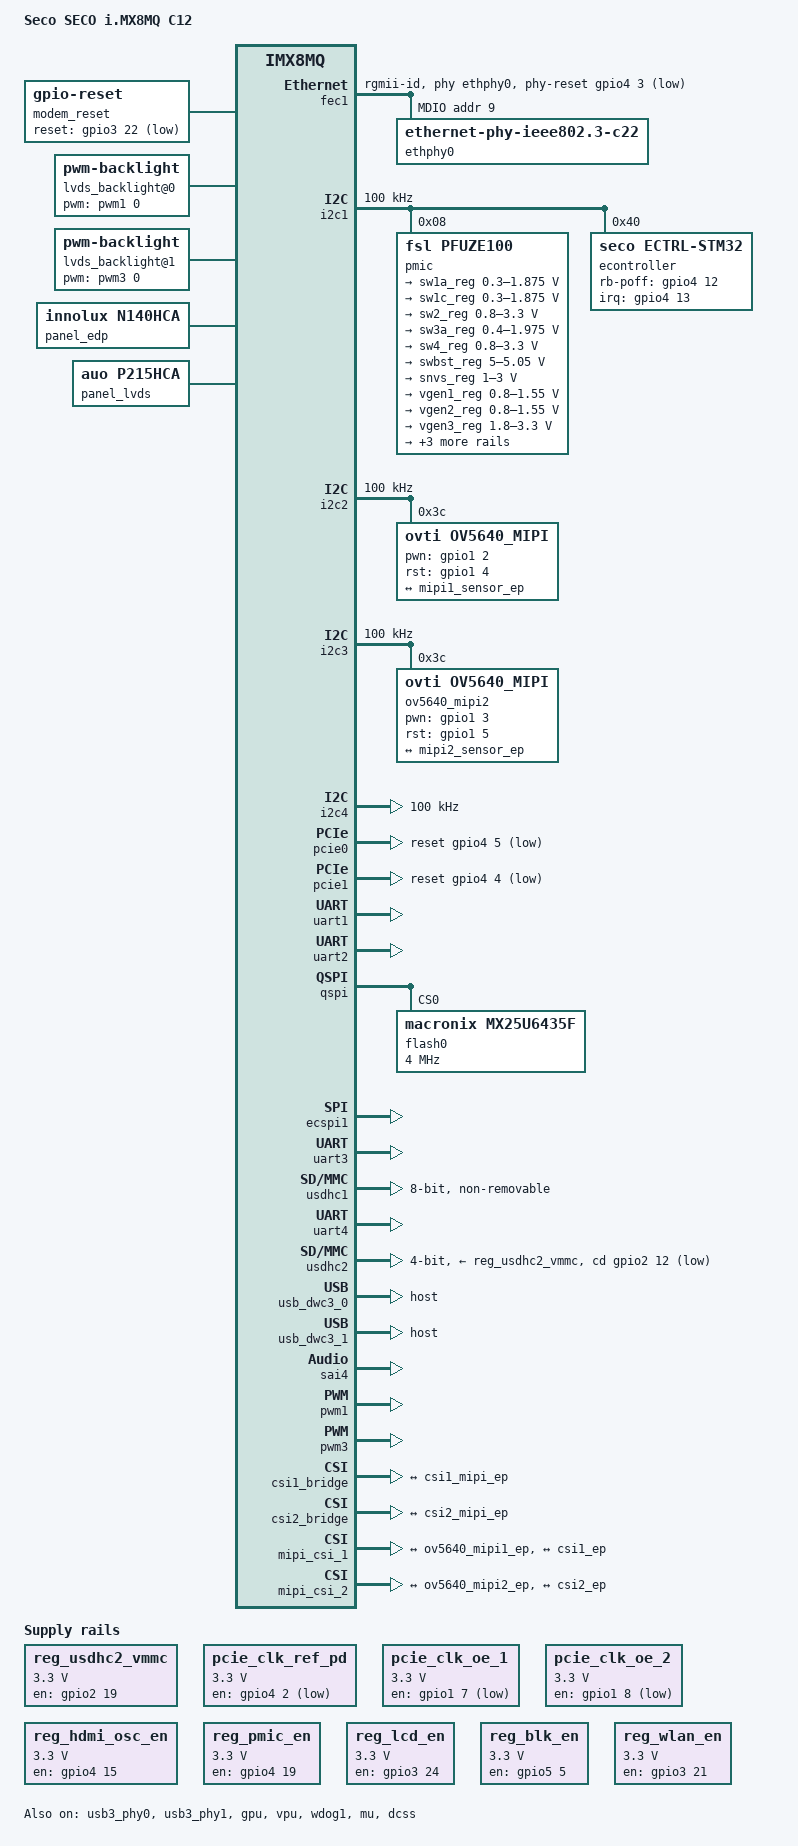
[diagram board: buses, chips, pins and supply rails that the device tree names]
/*
 * Copyright (C) 2016 Freescale Semiconductor, Inc.
 * Copyright 2017 NXP
 *
 * This program is free software; you can redistribute it and/or
 * modify it under the terms of the GNU General Public License
 * as published by the Free Software Foundation; either version 2
 * of the License, or (at your option) any later version.
 *
 * This program is distributed in the hope that it will be useful,
 * but WITHOUT ANY WARRANTY; without even the implied warranty of
 * MERCHANTABILITY or FITNESS FOR A PARTICULAR PURPOSE.  See the
 * GNU General Public License for more details.
 */

/dts-v1/;

#include <dt-bindings/usb/pd.h>
#include "seco-imx8mq.dtsi"
#include "dt-bindings/net/ti-dp83867.h"
#include "dt-bindings/seco/ectrl_stm32.h"

/ {
	model = "Seco SECO i.MX8MQ C12";
	compatible = "fsl,imx8mq-evk","fsl,seco-imx8mq-c12", "fsl,imx8mq";

	chosen {
		bootargs = "console=ttymxc1,115200 earlycon=ec_imx6q,0x30890000,115200";
		stdout-path = &uart2;
	};

	regulators {
		compatible = "simple-bus";
		#address-cells = <1>;
		#size-cells = <0>;

		reg_usdhc2_vmmc: usdhc2_vmmc {
			compatible = "regulator-fixed";
			regulator-name = "VSD_3V3";
			regulator-min-microvolt = <3300000>;
			regulator-max-microvolt = <3300000>;
			gpio = <&gpio2 19 GPIO_ACTIVE_HIGH>;
			off-on-delay = <20000>;
			enable-active-high;
		};

		pcie_clk_ref_pd: pcie_clk_ref_vdd {
			compatible = "regulator-fixed";
			regulator-name = "PCIE_CLK_REF_PD";
			regulator-min-microvolt = <3300000>;
			regulator-max-microvolt = <3300000>;
			gpio = <&gpio4 2 GPIO_ACTIVE_LOW>;
			enable-active-low;
			regulator-boot-on;
			regulator-always-on;
		};

		pcie_clk_oe_1: pcie_clk_oe1 {
			compatible = "regulator-fixed";
			regulator-name = "PCIE_CLK_OE_1";
			regulator-min-microvolt = <3300000>;
			regulator-max-microvolt = <3300000>;
			gpio = <&gpio1 7 GPIO_ACTIVE_LOW>;
			enable-active-low;
			regulator-always-on;
		};

		pcie_clk_oe_2: pcie_clk_oe2 {
			compatible = "regulator-fixed";
			regulator-name = "PCIE_CLK_OE_2";
			regulator-min-microvolt = <3300000>;
			regulator-max-microvolt = <3300000>;
			gpio = <&gpio1 8 GPIO_ACTIVE_LOW>;
			enable-active-low;
			regulator-always-on;
		};

		reg_hdmi_osc_en: reg_hdmi_oscen {
                        compatible = "regulator-fixed";
                        regulator-name = "HDMI_27MHZ_EN";
                        regulator-min-microvolt = <3300000>;
                        regulator-max-microvolt = <3300000>;
                        gpio = <&gpio4 15 GPIO_ACTIVE_HIGH>;
                        enable-active-high;
                };

		reg_pmic_en: reg_pmicen {
                        compatible = "regulator-fixed";
                        regulator-name = "PMIC_EN";
                        regulator-min-microvolt = <3300000>;
                        regulator-max-microvolt = <3300000>;
                        gpio = <&gpio4 19 GPIO_ACTIVE_HIGH>;
                        enable-active-high;
                        regulator-boot-on;
                        regulator-always-on;
                };

		reg_lcd_en: reg_lcd_vdd_en {
                        compatible = "regulator-fixed";
                        regulator-name = "LCD_VDD_EN";
                        regulator-min-microvolt = <3300000>;
                        regulator-max-microvolt = <3300000>;
                        gpio = <&gpio3 24 GPIO_ACTIVE_HIGH>;
                        enable-active-high;
                        regulator-boot-on;
                        regulator-always-on;
                };

		reg_blk_en: reg_blk_vdd_en {
                        compatible = "regulator-fixed";
                        regulator-name = "BLK_VDD_EN";
                        regulator-min-microvolt = <3300000>;
                        regulator-max-microvolt = <3300000>;
                        gpio = <&gpio5 5 GPIO_ACTIVE_HIGH>;
                        enable-active-high;
                        regulator-boot-on;
                        regulator-always-on;
                };

		reg_wlan_en: wlan_en {
                        compatible = "regulator-fixed";
                        regulator-name = "WLAN_EN";
                        regulator-min-microvolt = <3300000>;
                        regulator-max-microvolt = <3300000>;
                        gpio = <&gpio3 21 GPIO_ACTIVE_HIGH>;
                        enable-active-high;
                };
	};

	modem_reset: modem-reset {
		compatible = "gpio-reset";
		reset-gpios = <&gpio3 22 GPIO_ACTIVE_LOW>;
		reset-delay-us = <2000>;
		reset-post-delay-ms = <40>;
		#reset-cells = <0>;
	};

	soundhdmi: sound-hdmi {
		compatible = "fsl,seco-imx8mq-c12-cdnhdmi",
				"fsl,imx-audio-cdnhdmi";
		model = "imx-audio-hdmi";
		audio-cpu = <&sai4>;
		protocol = <1>;
		hdmi-out;
		constraint-rate = <44100>,
				<88200>,
				<176400>,
				<32000>,
				<48000>,
				<96000>,
				<192000>;
	};

	lvds_backlight@0 {
                compatible = "pwm-backlight";
                pwms = <&pwm1 0 100000>;

                brightness-levels = < 0  1  2  3  4  5  6  7  8  9
                                     10 11 12 13 14 15 16 17 18 19
                                     20 21 22 23 24 25 26 27 28 29
                                     30 31 32 33 34 35 36 37 38 39
                                     40 41 42 43 44 45 46 47 48 49
                                     50 51 52 53 54 55 56 57 58 59
                                     60 61 62 63 64 65 66 67 68 69
                                     70 71 72 73 74 75 76 77 78 79
                                     80 81 82 83 84 85 86 87 88 89
                                     90 91 92 93 94 95 96 97 98 99
                                    100>;
                default-brightness-level = <80>;
        };

        lvds_backlight@1 {
                compatible = "pwm-backlight";
                pwms = <&pwm3 0 100000>;

                brightness-levels = < 0  1  2  3  4  5  6  7  8  9
                                     10 11 12 13 14 15 16 17 18 19
                                     20 21 22 23 24 25 26 27 28 29
                                     30 31 32 33 34 35 36 37 38 39
                                     40 41 42 43 44 45 46 47 48 49
                                     50 51 52 53 54 55 56 57 58 59
                                     60 61 62 63 64 65 66 67 68 69
                                     70 71 72 73 74 75 76 77 78 79
                                     80 81 82 83 84 85 86 87 88 89
                                     90 91 92 93 94 95 96 97 98 99
                                    100>;
                default-brightness-level = <80>;
       };

	panel_edp: edp_panel {
		compatible = "innolux,n140hca";
		#address-cells = <1>;
		#size-cells = <0>;
	};

	panel_lvds: lvds_panel {
		compatible = "auo,p215hca";
		#address-cells = <1>;
		#size-cells = <0>;
	};

};

&clk {
	assigned-clocks = <&clk IMX8MQ_AUDIO_PLL1>, <&clk IMX8MQ_AUDIO_PLL2>;
	assigned-clock-rates = <786432000>, <722534400>;
};

&iomuxc {
	pinctrl-names = "default";
	pinctrl-0 = <&pinctrl_hog>;

	seco-imx8mq-c12 {
		pinctrl_hog: hoggrp {
			fsl,pins = <
				MX8MQ_IOMUXC_NAND_READY_B_GPIO3_IO16		0x19 /* CFG_0 */
				MX8MQ_IOMUXC_NAND_WE_B_GPIO3_IO17		0x19 /* CFG_2 */
				MX8MQ_IOMUXC_NAND_WP_B_GPIO3_IO18		0x19 /* CFG_1 */
				/* LVDS regulatore*/				
				MX8MQ_IOMUXC_SAI5_RXFS_GPIO3_IO19		0x19
				MX8MQ_IOMUXC_SAI5_RXD3_GPIO3_IO24		0x19
				MX8MQ_IOMUXC_SPDIF_EXT_CLK_GPIO5_IO5	        0x19
				MX8MQ_IOMUXC_SAI3_MCLK_GPIO5_IO2		0x19 /* LCD1_VDD_EN */
				/* BT_CFG9 STM32 interrupt */
				MX8MQ_IOMUXC_SAI1_TXD1_GPIO4_IO13		0x82
				MX8MQ_IOMUXC_SAI1_TXD0_GPIO4_IO12		0x82
				MX8MQ_IOMUXC_SAI1_RXD4_GPIO4_IO6		0x82
				MX8MQ_IOMUXC_GPIO1_IO08_GPIO1_IO8       	0x82 /* PMIC_FAULT_INT# in RevB board - PCIe_CLK_OE_3#_8M in RevC */	
				/* HDMI 27MHz Enable */
				MX8MQ_IOMUXC_SAI1_TXD3_GPIO4_IO15		0x19
				/* PMIC Boost Enable */
				MX8MQ_IOMUXC_SAI1_TXD7_GPIO4_IO19		0x19
				MX8MQ_IOMUXC_GPIO1_IO07_GPIO1_IO7		0x19 /* PMIC_SDWN in RevB board - PCIe_CLK_OE_1#_8M in RevC */
				
				/* Generic GPIO */
				MX8MQ_IOMUXC_GPIO1_IO06_GPIO1_IO6               0x19 /* GPIO4 */
				MX8MQ_IOMUXC_GPIO1_IO13_GPIO1_IO13               0x19 /* GPIO5 */
				MX8MQ_IOMUXC_GPIO1_IO10_GPIO1_IO10               0x19 /* GPIO6 */
				MX8MQ_IOMUXC_GPIO1_IO11_GPIO1_IO11               0x19 /* GPIO7 */
				MX8MQ_IOMUXC_GPIO1_IO12_GPIO1_IO12               0x19 /* GPIO8 */
				MX8MQ_IOMUXC_NAND_DATA04_GPIO3_IO10		0x19 /* GPIO9 */
				MX8MQ_IOMUXC_NAND_DATA05_GPIO3_IO11             0x19 /* GPIO10 */
				MX8MQ_IOMUXC_NAND_DATA06_GPIO3_IO12             0x19 /* GPIO11 */
				MX8MQ_IOMUXC_NAND_DATA07_GPIO3_IO13		0x19 /* VIN_PWR_BAD_1V8 */
				MX8MQ_IOMUXC_SAI5_MCLK_GPIO3_IO25		0x19 /* not connected */
				MX8MQ_IOMUXC_SAI5_RXC_GPIO3_IO20		0x19 /* LVDS_BRG_IRQ */ 
				MX8MQ_IOMUXC_SPDIF_RX_GPIO5_IO4			0x19 /* LCD1_BKLT_EN */	
				/* USB OC# */
				MX8MQ_IOMUXC_SAI1_MCLK_GPIO4_IO20		0x19 /* USB1_EN_OC# */	
				MX8MQ_IOMUXC_SAI1_TXFS_GPIO4_IO10		0x19 /* USB2_EN_OC# */
				MX8MQ_IOMUXC_SAI1_TXC_GPIO4_IO11		0x19 /* USB3_EN_OC# */
				MX8MQ_IOMUXC_SAI1_RXFS_GPIO4_IO0		0x19 /* USB4_EN_OC# */
				MX8MQ_IOMUXC_SAI1_RXC_GPIO4_IO1			0x19 /* USB0_EN_OC# */
				/*CAMERA CLOCK OUT */
				MX8MQ_IOMUXC_GPIO1_IO14_CCMSRCGPCMIX_CLKO1	0x19	
				MX8MQ_IOMUXC_GPIO1_IO15_CCMSRCGPCMIX_CLKO2	0x19
			>;
		};

		pinctrl_csi1: csi1_grp {
			fsl,pins = <
				MX8MQ_IOMUXC_GPIO1_IO02_GPIO1_IO2		0x19 /* pwn */
				MX8MQ_IOMUXC_GPIO1_IO04_GPIO1_IO4               0x19 /* rst */
			>;
		};
		pinctrl_csi2: csi2_grp {
			fsl,pins = <
				MX8MQ_IOMUXC_GPIO1_IO03_GPIO1_IO3		0x19 /* pwn */
				MX8MQ_IOMUXC_GPIO1_IO05_GPIO1_IO5               0x19 /* rst */
			>;
		};

		pinctrl_fec1: fec1grp {
			fsl,pins = <
				MX8MQ_IOMUXC_ENET_MDC_ENET1_MDC		0x3
				MX8MQ_IOMUXC_ENET_MDIO_ENET1_MDIO	0x23
				MX8MQ_IOMUXC_ENET_TD3_ENET1_RGMII_TD3	0x1f
				MX8MQ_IOMUXC_ENET_TD2_ENET1_RGMII_TD2	0x1f
				MX8MQ_IOMUXC_ENET_TD1_ENET1_RGMII_TD1	0x1f
				MX8MQ_IOMUXC_ENET_TD0_ENET1_RGMII_TD0	0x1f
				MX8MQ_IOMUXC_ENET_RD3_ENET1_RGMII_RD3	0x91
				MX8MQ_IOMUXC_ENET_RD2_ENET1_RGMII_RD2	0x91
				MX8MQ_IOMUXC_ENET_RD1_ENET1_RGMII_RD1	0x91
				MX8MQ_IOMUXC_ENET_RD0_ENET1_RGMII_RD0	0x91
				MX8MQ_IOMUXC_ENET_TXC_ENET1_RGMII_TXC	0x1f
				MX8MQ_IOMUXC_ENET_RXC_ENET1_RGMII_RXC	0x91
				MX8MQ_IOMUXC_ENET_RX_CTL_ENET1_RGMII_RX_CTL	0x91
				MX8MQ_IOMUXC_ENET_TX_CTL_ENET1_RGMII_TX_CTL	0x1f
				/* ENET RESET */
				MX8MQ_IOMUXC_SAI1_RXD1_GPIO4_IO3        0x19
			>;
		};

		pinctrl_i2c1: i2c1grp {
			fsl,pins = <
				MX8MQ_IOMUXC_I2C1_SCL_I2C1_SCL			0x4000007f
				MX8MQ_IOMUXC_I2C1_SDA_I2C1_SDA			0x4000007f
			>;
		};

		pinctrl_i2c2: i2c2grp {
			fsl,pins = <
				MX8MQ_IOMUXC_I2C2_SCL_I2C2_SCL			0x40000067
				MX8MQ_IOMUXC_I2C2_SDA_I2C2_SDA			0x40000067
			>;
		};

		pinctrl_i2c3: i2c3grp {
			fsl,pins = <
				MX8MQ_IOMUXC_I2C3_SCL_I2C3_SCL			0x40000067
				MX8MQ_IOMUXC_I2C3_SDA_I2C3_SDA			0x40000067
			>;
		};

		pinctrl_i2c4: i2c4grp {
                       fsl,pins = <
                                MX8MQ_IOMUXC_I2C4_SCL_I2C4_SCL                  0x4000007f
                                MX8MQ_IOMUXC_I2C4_SDA_I2C4_SDA                  0x4000007f
                        >;
                };

		pinctrl_pcie0: pcie0grp {
			fsl,pins = <
				MX8MQ_IOMUXC_SAI1_RXD3_GPIO4_IO5	0x16
			>;
		};

		pinctrl_pcie1: pcie1grp {
			fsl,pins = <
				MX8MQ_IOMUXC_SAI1_RXD2_GPIO4_IO4	0x16
			>;
		};

		pinctrl_spi: spigrp {
                        fsl,pins = <
                                MX8MQ_IOMUXC_ECSPI1_SCLK_ECSPI1_SCLK	0x82
                                MX8MQ_IOMUXC_ECSPI1_MOSI_ECSPI1_MOSI	0x82
                                MX8MQ_IOMUXC_ECSPI1_MISO_ECSPI1_MISO	0x82
				MX8MQ_IOMUXC_ECSPI1_SS0_GPIO5_IO9	0x19 /* MCP2517 */
				MX8MQ_IOMUXC_SAI1_RXD7_GPIO4_IO9	0x82 /* PCF2123 */
				MX8MQ_IOMUXC_NAND_CE2_B_GPIO3_IO3	0x82 /* ESPI_RESET# */
				MX8MQ_IOMUXC_NAND_CE3_B_GPIO3_IO4	0x82 /* ESPI_ALERT# */
				MX8MQ_IOMUXC_NAND_CLE_GPIO3_IO5		0x82 /* RTC_INT_CPU */

                        >;
                };

		pinctrl_can_int: mcp2515int {
			fsl,pins = <
				MX8MQ_IOMUXC_GPIO1_IO09_GPIO1_IO9	0x82 /* INT */

                        >;
		};

		pinctrl_typec: typecgrp {
			fsl,pins = <
				MX8MQ_IOMUXC_NAND_RE_B_GPIO3_IO15	0x16
			>;
		};

		pinctrl_qspi: qspigrp {
			fsl,pins = <
				MX8MQ_IOMUXC_NAND_ALE_QSPI_A_SCLK	0x83
				MX8MQ_IOMUXC_NAND_CE0_B_QSPI_A_SS0_B	0x83
				MX8MQ_IOMUXC_NAND_CE1_B_QSPI_A_SS1_B	0x83
				MX8MQ_IOMUXC_NAND_DATA00_QSPI_A_DATA0	0x83
				MX8MQ_IOMUXC_NAND_DATA01_QSPI_A_DATA1	0x83
				MX8MQ_IOMUXC_NAND_DATA02_QSPI_A_DATA2   0x83
				MX8MQ_IOMUXC_NAND_DATA03_QSPI_A_DATA3   0x83

			>;
		};

		pinctrl_uart1: uart1grp {
			fsl,pins = <
				MX8MQ_IOMUXC_UART1_RXD_UART1_DCE_RX		0x49
				MX8MQ_IOMUXC_UART1_TXD_UART1_DCE_TX		0x49
			>;
		};

		pinctrl_uart2: uart2grp {
                        fsl,pins = <
                                MX8MQ_IOMUXC_UART2_TXD_UART2_DCE_TX             0x49
                                MX8MQ_IOMUXC_UART2_RXD_UART2_DCE_RX             0x49
                        >;
                };

		pinctrl_uart3: uart3grp {
			fsl,pins = <
				MX8MQ_IOMUXC_UART3_TXD_UART3_DCE_TX		0x49
				MX8MQ_IOMUXC_UART3_RXD_UART3_DCE_RX		0x49
			>;
		};

		pinctrl_uart4: uart4grp {
                        fsl,pins = <
				MX8MQ_IOMUXC_ECSPI2_MOSI_UART4_DCE_TX           0x16
				MX8MQ_IOMUXC_ECSPI2_SCLK_UART4_DCE_RX           0x16
				MX8MQ_IOMUXC_ECSPI2_SS0_UART4_DCE_RTS_B         0x16
				MX8MQ_IOMUXC_ECSPI2_MISO_UART4_DCE_CTS_B        0x16
				MX8MQ_IOMUXC_SAI5_RXD1_GPIO3_IO22               0x16
			>;
                };

		pinctrl_usdhc1: usdhc1grp {
			fsl,pins = <
				MX8MQ_IOMUXC_SD1_CLK_USDHC1_CLK			0x83
				MX8MQ_IOMUXC_SD1_CMD_USDHC1_CMD			0xc3
				MX8MQ_IOMUXC_SD1_DATA0_USDHC1_DATA0		0xc3
				MX8MQ_IOMUXC_SD1_DATA1_USDHC1_DATA1		0xc3
				MX8MQ_IOMUXC_SD1_DATA2_USDHC1_DATA2		0xc3
				MX8MQ_IOMUXC_SD1_DATA3_USDHC1_DATA3		0xc3
				MX8MQ_IOMUXC_SD1_DATA4_USDHC1_DATA4		0xc3
				MX8MQ_IOMUXC_SD1_DATA5_USDHC1_DATA5		0xc3
				MX8MQ_IOMUXC_SD1_DATA6_USDHC1_DATA6		0xc3
				MX8MQ_IOMUXC_SD1_DATA7_USDHC1_DATA7		0xc3
				MX8MQ_IOMUXC_SD1_STROBE_USDHC1_STROBE 		0x83
				MX8MQ_IOMUXC_SD1_RESET_B_USDHC1_RESET_B		0xc1
			>;
		};

		pinctrl_usdhc1_100mhz: usdhc1grp100mhz {
			fsl,pins = <
				MX8MQ_IOMUXC_SD1_CLK_USDHC1_CLK			0x85
				MX8MQ_IOMUXC_SD1_CMD_USDHC1_CMD			0xc5
				MX8MQ_IOMUXC_SD1_DATA0_USDHC1_DATA0		0xc5
				MX8MQ_IOMUXC_SD1_DATA1_USDHC1_DATA1		0xc5
				MX8MQ_IOMUXC_SD1_DATA2_USDHC1_DATA2		0xc5
				MX8MQ_IOMUXC_SD1_DATA3_USDHC1_DATA3		0xc5
				MX8MQ_IOMUXC_SD1_DATA4_USDHC1_DATA4		0xc5
				MX8MQ_IOMUXC_SD1_DATA5_USDHC1_DATA5		0xc5
				MX8MQ_IOMUXC_SD1_DATA6_USDHC1_DATA6		0xc5
				MX8MQ_IOMUXC_SD1_DATA7_USDHC1_DATA7		0xc5
				MX8MQ_IOMUXC_SD1_STROBE_USDHC1_STROBE		0x85
				MX8MQ_IOMUXC_SD1_RESET_B_USDHC1_RESET_B		0xc1
			>;
		};

		pinctrl_usdhc1_200mhz: usdhc1grp200mhz {
			fsl,pins = <
				MX8MQ_IOMUXC_SD1_CLK_USDHC1_CLK			0x87
				MX8MQ_IOMUXC_SD1_CMD_USDHC1_CMD			0xc7
				MX8MQ_IOMUXC_SD1_DATA0_USDHC1_DATA0		0xc7
				MX8MQ_IOMUXC_SD1_DATA1_USDHC1_DATA1		0xc7
				MX8MQ_IOMUXC_SD1_DATA2_USDHC1_DATA2		0xc7
				MX8MQ_IOMUXC_SD1_DATA3_USDHC1_DATA3		0xc7
				MX8MQ_IOMUXC_SD1_DATA4_USDHC1_DATA4		0xc7
				MX8MQ_IOMUXC_SD1_DATA5_USDHC1_DATA5		0xc7
				MX8MQ_IOMUXC_SD1_DATA6_USDHC1_DATA6		0xc7
				MX8MQ_IOMUXC_SD1_DATA7_USDHC1_DATA7		0xc7
				MX8MQ_IOMUXC_SD1_STROBE_USDHC1_STROBE		0x87
				MX8MQ_IOMUXC_SD1_RESET_B_USDHC1_RESET_B		0xc1
			>;
		};

		pinctrl_usdhc2_gpio: usdhc2grpgpio {
			fsl,pins = <
				MX8MQ_IOMUXC_SD2_CD_B_GPIO2_IO12	0x41
				MX8MQ_IOMUXC_SD2_RESET_B_GPIO2_IO19	0x82
			>;
		};

		pinctrl_usdhc2: usdhc2grp {
			fsl,pins = <
				MX8MQ_IOMUXC_SD2_CLK_USDHC2_CLK			0xc6
				MX8MQ_IOMUXC_SD2_CMD_USDHC2_CMD			0xc5
				MX8MQ_IOMUXC_SD2_DATA0_USDHC2_DATA0		0xc5
				MX8MQ_IOMUXC_SD2_DATA1_USDHC2_DATA1		0xc5
				MX8MQ_IOMUXC_SD2_DATA2_USDHC2_DATA2		0xc5
				MX8MQ_IOMUXC_SD2_DATA3_USDHC2_DATA3		0xc5
			>;
		};

		pinctrl_usdhc2_100mhz: usdhc2grp100mhz {
			fsl,pins = <
				MX8MQ_IOMUXC_SD2_CLK_USDHC2_CLK			0x85
				MX8MQ_IOMUXC_SD2_CMD_USDHC2_CMD			0xc5
				MX8MQ_IOMUXC_SD2_DATA0_USDHC2_DATA0		0xc5
				MX8MQ_IOMUXC_SD2_DATA1_USDHC2_DATA1		0xc5
				MX8MQ_IOMUXC_SD2_DATA2_USDHC2_DATA2		0xc5
				MX8MQ_IOMUXC_SD2_DATA3_USDHC2_DATA3		0xc5
			>;
		};

		pinctrl_usdhc2_200mhz: usdhc2grp200mhz {
			fsl,pins = <
				MX8MQ_IOMUXC_SD2_CLK_USDHC2_CLK			0x87
				MX8MQ_IOMUXC_SD2_CMD_USDHC2_CMD			0xc7
				MX8MQ_IOMUXC_SD2_DATA0_USDHC2_DATA0		0xc7
				MX8MQ_IOMUXC_SD2_DATA1_USDHC2_DATA1		0xc7
				MX8MQ_IOMUXC_SD2_DATA2_USDHC2_DATA2		0xc7
				MX8MQ_IOMUXC_SD2_DATA3_USDHC2_DATA3		0xc7
			>;
		};

		pinctrl_wlan: wlangrp {
                        fsl,pins = <
                                MX8MQ_IOMUXC_SAI5_RXD2_GPIO3_IO23                       0x82    /* WL IRQ    */
                                MX8MQ_IOMUXC_SAI5_RXD0_GPIO3_IO21                       0x82    /* WL Enable */
                        >;
                };

		pinctrl_lvds0_pwm1: lvds0pwm1grp {
				fsl,pins = <
					MX8MQ_IOMUXC_GPIO1_IO01_PWM1_OUT	0x000000d6
				>;
		};

		pinctrl_lvds1_pwm3: lvds1pwm3grp {
				fsl,pins = <
					MX8MQ_IOMUXC_SPDIF_TX_PWM3_OUT		0x000000d6
				>;
		};
	};
};

&fec1 {
	pinctrl-names = "default";
	pinctrl-0 = <&pinctrl_fec1>;
	phy-mode = "rgmii-id";
	phy-handle = <&ethphy0>;
	phy-reset-gpios = <&gpio4 3 GPIO_ACTIVE_LOW>;
	phy-reset-duration = <1>;
	status = "okay";

	mdio {
		#address-cells = <1>;
		#size-cells = <0>;

		ethphy0: ethernet-phy@9 {
			compatible = "ethernet-phy-ieee802.3-c22";
			reg = <9>;
			ti,rx-internal-delay = <DP83867_RGMIIDCTL_2_00_NS>;
			ti,tx-internal-delay = <DP83867_RGMIIDCTL_2_00_NS>;
			ti,fifo-depth = <DP83867_PHYCR_FIFO_DEPTH_8_B_NIB>;
		
		};
	};
};

&i2c1 {
	clock-frequency = <100000>;
	pinctrl-names = "default";
	pinctrl-0 = <&pinctrl_i2c1>;
	status = "okay";

	pmic: pfuze100@8 {
		compatible = "fsl,pfuze100";
		reg = <0x08>;

		regulators {
			sw1a_reg: sw1ab {
				regulator-min-microvolt = <300000>;
				regulator-max-microvolt = <1875000>;
			};

			sw1c_reg: sw1c {
				regulator-min-microvolt = <300000>;
				regulator-max-microvolt = <1875000>;
			};

			sw2_reg: sw2 {
				regulator-min-microvolt = <800000>;
				regulator-max-microvolt = <3300000>;
				regulator-always-on;
			};

			sw3a_reg: sw3ab {
				regulator-min-microvolt = <400000>;
				regulator-max-microvolt = <1975000>;
				regulator-always-on;
			};

			sw4_reg: sw4 {
				regulator-min-microvolt = <800000>;
				regulator-max-microvolt = <3300000>;
				regulator-always-on;
			};

			swbst_reg: swbst {
				regulator-min-microvolt = <5000000>;
				regulator-max-microvolt = <5050000>;
				regulator-always-on;
			};

			snvs_reg: vsnvs {
				regulator-min-microvolt = <1000000>;
				regulator-max-microvolt = <3000000>;
				regulator-always-on;
			};

			vref_reg: vrefddr {
				regulator-always-on;
			};

			vgen1_reg: vgen1 {
				regulator-min-microvolt = <800000>;
				regulator-max-microvolt = <1550000>;
			};

			vgen2_reg: vgen2 {
				regulator-min-microvolt = <800000>;
				regulator-max-microvolt = <1550000>;
				regulator-always-on;
			};

			vgen3_reg: vgen3 {
				regulator-min-microvolt = <1800000>;
				regulator-max-microvolt = <3300000>;
				regulator-always-on;
			};

			vgen4_reg: vgen4 {
				regulator-min-microvolt = <1800000>;
				regulator-max-microvolt = <3300000>;
				regulator-always-on;
			};

			vgen5_reg: vgen5 {
				regulator-min-microvolt = <1800000>;
				regulator-max-microvolt = <3300000>;
				regulator-always-on;
			};

			vgen6_reg: vgen6 {
				regulator-min-microvolt = <1800000>;
				regulator-max-microvolt = <3300000>;
			};
		};
	};

	econtroller: ectrl@40 {
                compatible       = "seco,ectrl-stm32";
                reg              = <0x40>;
	
		board-id         = "C12";

                interrupt-parent = <&gpio4>;
                interrupts       = <13 0>;

		rb-poff-gpio	 = <&gpio4 12 0>;	

		events           = <ECTRL_EVNT_FAIL_BV 
                                        ECTRL_EVNT_FAIL_WD  
                                        ECTRL_EVNT_BATLOW_SIGNAL 
                                        ECTRL_EVNT_SLEEP_SIGNAL 
                                        ECTRL_EVNT_LID_SIGNAL 
                                        ECTRL_EVNT_PWR_BUTTON 
                                        ECTRL_EVNT_FAIL_PWGIN 
                                        ECTRL_EVNT_WAKE_EN>;
                boot_device {

                        bootdev@0 {
                                id    = <ECTRL_BOOTDEV_USDHC1>;
                                label = "external SD";
                        };

                        bootdev@1 {
                                id    = <ECTRL_BOOTDEV_EMMC>;
                                label = "on board eMMC";
                        };
                      
                };

        };



};

&i2c2 {
	clock-frequency = <100000>;
	pinctrl-names = "default";
	pinctrl-0 = <&pinctrl_i2c2>;
	status = "okay";	

	ov5640_mipi: ov5640_mipi@3c {
		compatible = "ovti,ov5640_mipi";
		reg = <0x3c>;
		status = "okay";
		pinctrl-names = "default";
		pinctrl-0 = <&pinctrl_csi1>;
		clocks = <&clk IMX8MQ_CLK_CLKO2>;
		clock-names = "csi_mclk";
		assigned-clocks = <&clk IMX8MQ_CLK_CLKO2>;
		assigned-clock-parents = <&clk IMX8MQ_SYS2_PLL_200M>;
		assigned-clock-rates = <20000000>;
		csi_id = <0>;
		pwn-gpios = <&gpio1 2 GPIO_ACTIVE_HIGH>;
		rst-gpios = <&gpio1 4 GPIO_ACTIVE_HIGH>;
		mclk = <20000000>;
		mclk_source = <0>;
		port {
			ov5640_mipi1_ep: endpoint {
				remote-endpoint = <&mipi1_sensor_ep>;
			};
		};
	};
};

&i2c3 {
	clock-frequency = <100000>;
	pinctrl-names = "default";
	pinctrl-0 = <&pinctrl_i2c3>;
	status = "okay";
	adv_bridge: sn65dsi84@2d {
                compatible = "ti,sn65dsi84";
                reg = <0x2d>;
                #address-cells = <1>;
                #size-cells = <0>;
		pd-gpios = <&gpio3 19 GPIO_ACTIVE_HIGH>;
		status = "disabled";
	};

	ov5640_mipi2: ov5640_mipi2@3c {
		compatible = "ovti,ov5640_mipi";
		reg = <0x3c>;
		status = "okay";
		pinctrl-names = "default";
		pinctrl-0 = <&pinctrl_csi2>;
		clocks = <&clk IMX8MQ_CLK_CLKO2>;
		clock-names = "csi_mclk";
		assigned-clocks = <&clk IMX8MQ_CLK_CLKO2>;
		assigned-clock-parents = <&clk IMX8MQ_SYS2_PLL_200M>;
		assigned-clock-rates = <20000000>;
		csi_id = <1>;
		pwn-gpios = <&gpio1 3 GPIO_ACTIVE_HIGH>;
		rst-gpios = <&gpio1 5 GPIO_ACTIVE_HIGH>;
		mclk = <20000000>;
		mclk_source = <0>;
		port {
			ov5640_mipi2_ep: endpoint {
				remote-endpoint = <&mipi2_sensor_ep>;
			};
		};
	};
};

&i2c4 {
        clock-frequency = <100000>;
        pinctrl-names = "default";
        pinctrl-0 = <&pinctrl_i2c4>;
        status = "okay";
};

&pcie0{
	pinctrl-names = "default";
	pinctrl-0 = <&pinctrl_pcie0>;
	reset-gpio = <&gpio4 5 GPIO_ACTIVE_LOW>;
	ext_osc = <1>;
	status = "okay";
};

&pcie1{
	pinctrl-names = "default";
	pinctrl-0 = <&pinctrl_pcie1>;
	reset-gpio = <&gpio4 4 GPIO_ACTIVE_LOW>;
	ext_osc = <1>;
	status = "okay";
};

&uart1 { 
	pinctrl-names = "default";
	pinctrl-0 = <&pinctrl_uart1>;
	assigned-clocks = <&clk IMX8MQ_CLK_UART1>;
	assigned-clock-parents = <&clk IMX8MQ_CLK_25M>;
	status = "okay";
};

&uart2 { /* console */
        pinctrl-names = "default";
        pinctrl-0 = <&pinctrl_uart2>;
        assigned-clocks = <&clk IMX8MQ_CLK_UART2>;
        assigned-clock-parents = <&clk IMX8MQ_SYS1_PLL_80M>;
        status = "okay";
};

&qspi {
	pinctrl-names = "default";
	pinctrl-0 = <&pinctrl_qspi>;
	status = "okay";

	flash0: n25q256a@0 {
		reg = <0>;
		#address-cells = <1>;
		#size-cells = <1>;
		compatible = "macronix,mx25u6435f";
		spi-max-frequency = <4000000>;
	};
};

&ecspi1 {
	fsl,spi-num-chipselects = <2>;
        cs-gpios                = <&gpio4 9 0>, <&gpio5 9 0>;
	pinctrl-names = "default";
        pinctrl-0 = <&pinctrl_spi>;
	#address-cells = <1>;
	#size-cells = <0>;
        status = "okay";

	rtc: pcf2123@0 {
                compatible        = "nxp,rtc-pcf2123";
                reg               = <0>;
		#address-cells = <1>;
                #size-cells = <1>;
                spi-max-frequency = <1000000>;
		spi-cs-high;
		status = "disabled";
    	};

	can_spi: mcp258x@1 {
		compatible = "microchip,mcp2517fd";
		pinctrl-names = "default";
		pinctrl-0 = <&pinctrl_can_int>;
		reg = <1>;
                #address-cells = <1>;
                #size-cells = <1>;
		interrupt-parent = <&gpio1>;
		interrupts = <9 IRQ_TYPE_EDGE_FALLING>;
		spi-max-frequency = <10000000>;
		clocks = <&mcp251x_clock>;
		status = "disabled";
    	};

};

&uart3 { 
	pinctrl-names = "default";
	pinctrl-0 = <&pinctrl_uart3>;
	assigned-clocks = <&clk IMX8MQ_CLK_UART3>;
	assigned-clock-parents = <&clk IMX8MQ_SYS1_PLL_80M>;
	fsl,uart-has-rtscts;
	status = "okay";
};

&usdhc1 {
	pinctrl-names = "default", "state_100mhz", "state_200mhz";
	pinctrl-0 = <&pinctrl_usdhc1>;
	pinctrl-1 = <&pinctrl_usdhc1_100mhz>;
	pinctrl-2 = <&pinctrl_usdhc1_200mhz>;
	bus-width = <8>;
	non-removable;
	status = "okay";
};

&uart4 { /* BT */
	pinctrl-names = "default";
	pinctrl-0 = <&pinctrl_uart4>;
	assigned-clocks = <&clk IMX8MQ_CLK_UART4>;
	assigned-clock-parents = <&clk IMX8MQ_SYS1_PLL_80M>;
	fsl,uart-has-rtscts;
 	resets = <&modem_reset>;
 	status = "okay";
};

&usdhc2 {
	pinctrl-names = "default", "state_100mhz", "state_200mhz";
	pinctrl-0 = <&pinctrl_usdhc2>, <&pinctrl_usdhc2_gpio>;
	pinctrl-1 = <&pinctrl_usdhc2_100mhz>, <&pinctrl_usdhc2_gpio>;
	pinctrl-2 = <&pinctrl_usdhc2_200mhz>, <&pinctrl_usdhc2_gpio>;
	bus-width = <4>;
	no-1-8-v; /* uSD card power */
	cd-gpios = <&gpio2 12 GPIO_ACTIVE_LOW>;
	vmmc-supply = <&reg_usdhc2_vmmc>;
	status = "okay";

	#address-cells = <1>;
        #size-cells = <0>;

	wlcore: wlcore@0 {
		compatible = "ti,wl1831";
		reg = <0>;
		interrupt-parent = <&gpio3>;
		interrupts = <23 IRQ_TYPE_LEVEL_HIGH>;
		status = "disabled";
	};
};

&usb3_phy0 {
	status = "okay";
};

&usb_dwc3_0 {
	status = "okay";
	dr_mode = "host";
	hnp-disable;
	srp-disable;
	adp-disable;
};

&usb3_phy1 {
	status = "okay";
};

&usb_dwc3_1 {
	status = "okay";
	dr_mode = "host";
};

&sai4 {
	assigned-clocks = <&clk IMX8MQ_CLK_SAI4>;
	assigned-clock-parents = <&clk IMX8MQ_AUDIO_PLL1_OUT>;
	assigned-clock-rates = <24576000>;
	clocks = <&clk IMX8MQ_CLK_SAI4_IPG>, <&clk IMX8MQ_CLK_DUMMY>,
		<&clk IMX8MQ_CLK_SAI4_ROOT>, <&clk IMX8MQ_CLK_DUMMY>,
		<&clk IMX8MQ_CLK_DUMMY>, <&clk IMX8MQ_AUDIO_PLL1_OUT>,
		<&clk IMX8MQ_AUDIO_PLL2_OUT>;
	clock-names = "bus", "mclk0", "mclk1", "mclk2", "mclk3", "pll8k", "pll11k";
	status = "okay";
};

&gpu_pd {
	power-supply = <&sw1a_reg>;
};

&vpu_pd {
	power-supply = <&sw1c_reg>;
};

&gpu {
	status = "okay";
};

&vpu {
	status = "okay";
};

&wdog1 {
	pinctrl-names = "default";
	status = "okay";
};

&mu {
	status = "okay";
};

&pwm1 {
	pinctrl-names = "default";
	pinctrl-0 = <&pinctrl_lvds0_pwm1>;
	status = "okay";
};

&pwm3 {
	pinctrl-names = "default";
	pinctrl-0 = <&pinctrl_lvds1_pwm3>;
	status = "okay";
};

&A53_0 {
	operating-points = <
		/* kHz    uV */
		1500000 1000000
		1300000 1000000
		1000000 900000
		800000  900000
	>;
};

&dcss {
	status = "okay";

	disp-dev = "hdmi_disp";
};

&hdmi {
	osc_en-supply = <&reg_hdmi_osc_en>;
	status = "disabled";
};

&csi1_bridge {
	fsl,mipi-mode;
	fsl,two-8bit-sensor-mode;
	status = "okay";

	port {
		csi1_ep: endpoint {
			remote-endpoint = <&csi1_mipi_ep>;
		};
	};
};

&csi2_bridge {
	fsl,mipi-mode;
	fsl,two-8bit-sensor-mode;
	status = "okay";

	port {
		csi2_ep: endpoint {
			remote-endpoint = <&csi2_mipi_ep>;
		};
	};
};

&mipi_csi_1 {
	#address-cells = <1>;
	#size-cells = <0>;
	status = "okay";
	port {
		mipi1_sensor_ep: endpoint@0 {
			remote-endpoint = <&ov5640_mipi1_ep>;
			data-lanes = <1 2>;
		};

		csi1_mipi_ep: endpoint@1 {
			remote-endpoint = <&csi1_ep>;
		};
	};
};

&mipi_csi_2 {
	#address-cells = <1>;
	#size-cells = <0>;
	status = "okay";
	port {
		mipi2_sensor_ep: endpoint@0 {
			remote-endpoint = <&ov5640_mipi2_ep>;
			data-lanes = <1 2>;
		};

		csi2_mipi_ep: endpoint@1 {
			remote-endpoint = <&csi2_ep>;
		};
	};
};

